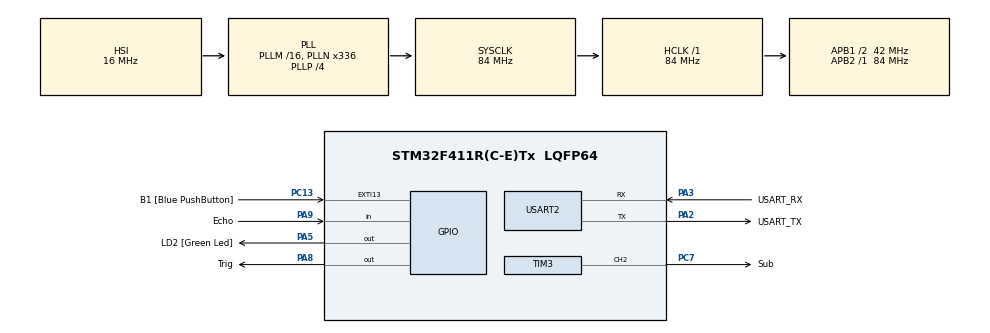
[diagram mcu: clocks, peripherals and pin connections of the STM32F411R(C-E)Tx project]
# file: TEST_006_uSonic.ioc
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Mcu.Family=STM32F4
Mcu.Name=STM32F411R(C-E)Tx
Mcu.Package=LQFP64
NVIC.PriorityGroup=NVIC_PRIORITYGROUP_0
PA13.GPIO_Label=TMS
PA13.Mode=Serial_Wire
PA13.Signal=SYS_JTMS-SWDIO
PA14.GPIO_Label=TCK
PA14.Mode=Serial_Wire
PA14.Signal=SYS_JTCK-SWCLK
PA2.GPIO_Label=USART_TX
PA2.Mode=Asynchronous
PA2.Signal=USART2_TX
PA3.GPIO_Label=USART_RX
PA3.Mode=Asynchronous
PA3.Signal=USART2_RX
PA5.GPIO_Label=LD2 [Green Led]
PA5.Signal=GPIO_Output
PA8.GPIO_Label=Trig
PA8.Signal=GPIO_Output
PA9.GPIO_Label=Echo
PA9.Signal=GPIO_Input
PB3.GPIO_Label=SWO
PB3.Signal=SYS_JTDO-SWO
PC13-ANTI_TAMP.GPIO_Label=B1 [Blue PushButton]
PC13-ANTI_TAMP.GPIO_ModeDefaultEXTI=GPIO_MODE_IT_FALLING
PC13-ANTI_TAMP.Signal=GPXTI13
PC14-OSC32_IN.Mode=LSE-External-Oscillator
PC14-OSC32_IN.Signal=RCC_OSC32_IN
PC15-OSC32_OUT.Mode=LSE-External-Oscillator
PC15-OSC32_OUT.Signal=RCC_OSC32_OUT
PC7.GPIO_Label=Sub
PC7.Signal=S_TIM3_CH2
PH0\ -\ OSC_IN.Mode=HSE-External-Clock-Source
PH0\ -\ OSC_IN.Signal=RCC_OSC_IN
PH1\ -\ OSC_OUT.Mode=HSE-External-Clock-Source
PH1\ -\ OSC_OUT.Signal=RCC_OSC_OUT
ProjectManager.HeapSize=0x200
ProjectManager.StackSize=0x400
ProjectManager.TargetToolchain=STM32CubeIDE
RCC.48MHZClocksFreq_Value=84000000
RCC.AHBFreq_Value=84000000
RCC.APB1CLKDivider=RCC_HCLK_DIV2
RCC.APB1Freq_Value=42000000
RCC.APB1TimFreq_Value=84000000
RCC.APB2Freq_Value=84000000
RCC.APB2TimFreq_Value=84000000
RCC.CortexFreq_Value=84000000
RCC.FLatency-AdvancedSettings=FLASH_LATENCY_2
RCC.HCLKFreq_Value=84000000
RCC.HSE_VALUE=8000000
RCC.HSI_VALUE=16000000
RCC.PLLN=336
RCC.PLLP=RCC_PLLP_DIV4
RCC.SYSCLKFreq_VALUE=84000000
RCC.SYSCLKSource=RCC_SYSCLKSOURCE_PLLCLK
RCC.VCOOutputFreq_Value=336000000
SH.S_TIM3_CH2.0=TIM3_CH2,PWM Generation2 CH2
TIM2.Prescaler=84-1
TIM3.Channel-PWM\ Generation2\ CH2=TIM_CHANNEL_2
TIM3.Prescaler=840-1
USART2.VirtualMode=VM_ASYNC
VP_TIM2_VS_ClockSourceINT.Mode=Internal
VP_TIM3_VS_ClockSourceINT.Mode=Internal
board=NUCLEO-F411RE

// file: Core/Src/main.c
/* USER CODE BEGIN Header */
/**
  ******************************************************************************
  * @file           : main.c
  * @brief          : Main program body
  ******************************************************************************
  * @attention
  *
  * Copyright (c) 2025 STMicroelectronics.
  * All rights reserved.
  *
  * This software is licensed under terms that can be found in the LICENSE file
  * in the root directory of this software component.
  * If no LICENSE file comes with this software, it is provided AS-IS.
  *
  ******************************************************************************
  */
/* USER CODE END Header */
#include "main.h"

/* USER CODE BEGIN Includes */
	//#include "delay.h"

/* USER CODE END Includes */

TIM_HandleTypeDef htim2;
TIM_HandleTypeDef htim3;

UART_HandleTypeDef huart2;

void SystemClock_Config(void);
static void MX_GPIO_Init(void);
static void MX_USART2_UART_Init(void);
static void MX_TIM2_Init(void);
static void MX_TIM3_Init(void);

/* USER CODE BEGIN 0 */

	void microDelay(int us)	//ms: micro secend
	{
		htim2.Instance->CNT = 0;
		while((htim2.Instance->CNT < us));
	}
	void Trigger()
	{
		HAL_GPIO_WritePin(Trig_GPIO_Port, Trig_Pin, 0);
		microDelay(10);
		HAL_GPIO_WritePin(Trig_GPIO_Port, Trig_Pin, 1);
		microDelay(10);
		HAL_GPIO_WritePin(Trig_GPIO_Port, Trig_Pin, 0);
	}
double Distance()
{
	int t0 = 0, t1, t2;

	Trigger();
	htim2.Instance->CNT =0;
	// wait until Echo High

	while((HAL_GPIO_ReadPin(Echo_GPIO_Port,Echo_Pin) == 0));
	{
		if(htim2.Instance->CNT > 30000) return -1; //Timeout
	}
	t1 = htim2.Instance->CNT;
	while((HAL_GPIO_ReadPin(Echo_GPIO_Port,Echo_Pin) == 1));
	{
		if(htim2.Instance->CNT > t1 + 60000) return -1; //Timeout
	}
	t2 = htim2.Instance->CNT;

	double dist = (t2- t1) * 0.17;
	return dist;
}
/* USER CODE END 0 */

int main(void)
{

  /* MCU Configuration--------------------------------------------------------*/

  /* Reset of all peripherals, Initializes the Flash interface and the Systick. */
  HAL_Init();

  /* Configure the system clock */
  SystemClock_Config();

  /* Initialize all configured peripherals */
  MX_GPIO_Init();
  MX_USART2_UART_Init();
  MX_TIM2_Init();
  MX_TIM3_Init();
  /* USER CODE BEGIN 2 */
  ProgramStart("Ultra Sonic SR=04(STF-05)");
  HAL_TIM_Base_Start(&htim2);

  /* USER CODE END 2 */

  /* Infinite loop */
  /* USER CODE BEGIN WHILE */
  while (1)
  {
	  double dist = Distance();

	  printf("Distance : %f\r\n", dist);
		HAL_Delay(500);

    /* USER CODE END WHILE */

  }
}

void SystemClock_Config(void)
{
  RCC_OscInitTypeDef RCC_OscInitStruct = {0};
  RCC_ClkInitTypeDef RCC_ClkInitStruct = {0};

  /** Configure the main internal regulator output voltage
  */
  __HAL_RCC_PWR_CLK_ENABLE();
  __HAL_PWR_VOLTAGESCALING_CONFIG(PWR_REGULATOR_VOLTAGE_SCALE1);

  /** Initializes the RCC Oscillators according to the specified parameters
  * in the RCC_OscInitTypeDef structure.
  */
  RCC_OscInitStruct.OscillatorType = RCC_OSCILLATORTYPE_HSI;
  RCC_OscInitStruct.HSIState = RCC_HSI_ON;
  RCC_OscInitStruct.HSICalibrationValue = RCC_HSICALIBRATION_DEFAULT;
  RCC_OscInitStruct.PLL.PLLState = RCC_PLL_ON;
  RCC_OscInitStruct.PLL.PLLSource = RCC_PLLSOURCE_HSI;
  RCC_OscInitStruct.PLL.PLLM = 16;
  RCC_OscInitStruct.PLL.PLLN = 336;
  RCC_OscInitStruct.PLL.PLLP = RCC_PLLP_DIV4;
  RCC_OscInitStruct.PLL.PLLQ = 4;
  if (HAL_RCC_OscConfig(&RCC_OscInitStruct) != HAL_OK)
  {
    Error_Handler();
  }

  /** Initializes the CPU, AHB and APB buses clocks
  */
  RCC_ClkInitStruct.ClockType = RCC_CLOCKTYPE_HCLK|RCC_CLOCKTYPE_SYSCLK
                              |RCC_CLOCKTYPE_PCLK1|RCC_CLOCKTYPE_PCLK2;
  RCC_ClkInitStruct.SYSCLKSource = RCC_SYSCLKSOURCE_PLLCLK;
  RCC_ClkInitStruct.AHBCLKDivider = RCC_SYSCLK_DIV1;
  RCC_ClkInitStruct.APB1CLKDivider = RCC_HCLK_DIV2;
  RCC_ClkInitStruct.APB2CLKDivider = RCC_HCLK_DIV1;

  if (HAL_RCC_ClockConfig(&RCC_ClkInitStruct, FLASH_LATENCY_2) != HAL_OK)
  {
    Error_Handler();
  }
}

static void MX_TIM2_Init(void)
{

  TIM_ClockConfigTypeDef sClockSourceConfig = {0};
  TIM_MasterConfigTypeDef sMasterConfig = {0};

  htim2.Instance = TIM2;
  htim2.Init.Prescaler = 84-1;
  htim2.Init.CounterMode = TIM_COUNTERMODE_UP;
  htim2.Init.Period = 4294967295;
  htim2.Init.ClockDivision = TIM_CLOCKDIVISION_DIV1;
  htim2.Init.AutoReloadPreload = TIM_AUTORELOAD_PRELOAD_DISABLE;
  if (HAL_TIM_Base_Init(&htim2) != HAL_OK)
  {
    Error_Handler();
  }
  sClockSourceConfig.ClockSource = TIM_CLOCKSOURCE_INTERNAL;
  if (HAL_TIM_ConfigClockSource(&htim2, &sClockSourceConfig) != HAL_OK)
  {
    Error_Handler();
  }
  sMasterConfig.MasterOutputTrigger = TIM_TRGO_RESET;
  sMasterConfig.MasterSlaveMode = TIM_MASTERSLAVEMODE_DISABLE;
  if (HAL_TIMEx_MasterConfigSynchronization(&htim2, &sMasterConfig) != HAL_OK)
  {
    Error_Handler();
  }

}

static void MX_TIM3_Init(void)
{

  TIM_ClockConfigTypeDef sClockSourceConfig = {0};
  TIM_MasterConfigTypeDef sMasterConfig = {0};
  TIM_OC_InitTypeDef sConfigOC = {0};

  htim3.Instance = TIM3;
  htim3.Init.Prescaler = 840-1;
  htim3.Init.CounterMode = TIM_COUNTERMODE_UP;
  htim3.Init.Period = 65535;
  htim3.Init.ClockDivision = TIM_CLOCKDIVISION_DIV1;
  htim3.Init.AutoReloadPreload = TIM_AUTORELOAD_PRELOAD_DISABLE;
  if (HAL_TIM_Base_Init(&htim3) != HAL_OK)
  {
    Error_Handler();
  }
  sClockSourceConfig.ClockSource = TIM_CLOCKSOURCE_INTERNAL;
  if (HAL_TIM_ConfigClockSource(&htim3, &sClockSourceConfig) != HAL_OK)
  {
    Error_Handler();
  }
  if (HAL_TIM_PWM_Init(&htim3) != HAL_OK)
  {
    Error_Handler();
  }
  sMasterConfig.MasterOutputTrigger = TIM_TRGO_RESET;
  sMasterConfig.MasterSlaveMode = TIM_MASTERSLAVEMODE_DISABLE;
  if (HAL_TIMEx_MasterConfigSynchronization(&htim3, &sMasterConfig) != HAL_OK)
  {
    Error_Handler();
  }
  sConfigOC.OCMode = TIM_OCMODE_PWM1;
  sConfigOC.Pulse = 0;
  sConfigOC.OCPolarity = TIM_OCPOLARITY_HIGH;
  sConfigOC.OCFastMode = TIM_OCFAST_DISABLE;
  if (HAL_TIM_PWM_ConfigChannel(&htim3, &sConfigOC, TIM_CHANNEL_2) != HAL_OK)
  {
    Error_Handler();
  }
  HAL_TIM_MspPostInit(&htim3);

}

static void MX_USART2_UART_Init(void)
{

  huart2.Instance = USART2;
  huart2.Init.BaudRate = 115200;
  huart2.Init.WordLength = UART_WORDLENGTH_8B;
  huart2.Init.StopBits = UART_STOPBITS_1;
  huart2.Init.Parity = UART_PARITY_NONE;
  huart2.Init.Mode = UART_MODE_TX_RX;
  huart2.Init.HwFlowCtl = UART_HWCONTROL_NONE;
  huart2.Init.OverSampling = UART_OVERSAMPLING_16;
  if (HAL_UART_Init(&huart2) != HAL_OK)
  {
    Error_Handler();
  }

}

static void MX_GPIO_Init(void)
{
  GPIO_InitTypeDef GPIO_InitStruct = {0};

  /* GPIO Ports Clock Enable */
  __HAL_RCC_GPIOC_CLK_ENABLE();
  __HAL_RCC_GPIOH_CLK_ENABLE();
  __HAL_RCC_GPIOA_CLK_ENABLE();
  __HAL_RCC_GPIOB_CLK_ENABLE();

  /*Configure GPIO pin Output Level */
  HAL_GPIO_WritePin(GPIOA, LD2_Pin|Trig_Pin, GPIO_PIN_RESET);

  /*Configure GPIO pin : B1_Pin */
  GPIO_InitStruct.Pin = B1_Pin;
  GPIO_InitStruct.Mode = GPIO_MODE_IT_FALLING;
  GPIO_InitStruct.Pull = GPIO_NOPULL;
  HAL_GPIO_Init(B1_GPIO_Port, &GPIO_InitStruct);

  /*Configure GPIO pins : LD2_Pin Trig_Pin */
  GPIO_InitStruct.Pin = LD2_Pin|Trig_Pin;
  GPIO_InitStruct.Mode = GPIO_MODE_OUTPUT_PP;
  GPIO_InitStruct.Pull = GPIO_NOPULL;
  GPIO_InitStruct.Speed = GPIO_SPEED_FREQ_LOW;
  HAL_GPIO_Init(GPIOA, &GPIO_InitStruct);

  /*Configure GPIO pin : Echo_Pin */
  GPIO_InitStruct.Pin = Echo_Pin;
  GPIO_InitStruct.Mode = GPIO_MODE_INPUT;
  GPIO_InitStruct.Pull = GPIO_NOPULL;
  HAL_GPIO_Init(Echo_GPIO_Port, &GPIO_InitStruct);

}

void Error_Handler(void)
{
  __disable_irq();
  while (1)
  {
  }
}
